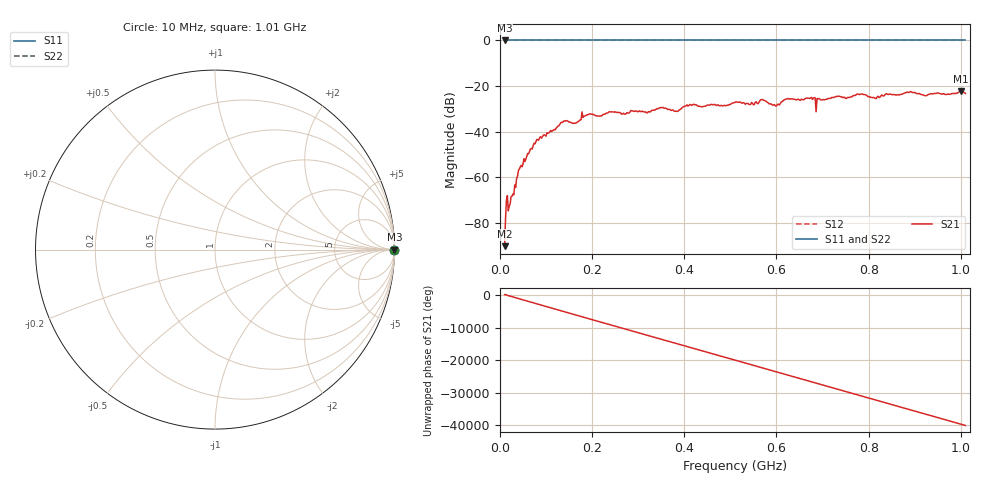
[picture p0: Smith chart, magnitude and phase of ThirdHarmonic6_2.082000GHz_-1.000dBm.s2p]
! 8/17/2025 12:55:51 AM
! C:\ANRITSUVNA\TEMP\TEMP.S2P
! CHANNEL.1
! TR.MEASUREMENT
! RAW.DATA
! RF.CORRECTION.OFF
! AVERAGING.OFF
! IF.BANDWIDTH: 5KHZ
! SWEEPTYPE:  FREQ.SWEEP(Linear)
! Reference Plane Port Info
! PORT:  PORT1  PORT2
! DISTANCE:  0  m  0  m
! TIME:  0  s  0  s
! PHASE.OFFSET:  0  deg.  0  deg.
! LOSS:  0  dB  0  dB
! REF.LOSS:  0  dB  0  dB
! REF.FREQ:  0  Hz  0  Hz
! Power Info
! POWER:  -20  dBm  -20  dBm
! EFF.POWER:  -20  dBm  -20  dBm
! SOURCE.ATTEN:  0  dB  0  dB
! TEST.ATTEN:  0  dB  0  dB
# GHZ S RI R 50.0
! FREQ.GHZ  S11RE  S11IM  S21RE  S21IM  S12RE  S12IM  S22RE  S22IM
!; PortSelection: Port_12
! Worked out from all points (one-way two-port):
!   501 points, 10 MHz to 1.01 GHz, reference 50 ohm
!   highest |S21| = -22.26 dB at 1 GHz (marker M1); lowest = -90.2 dB at 10 MHz (marker M2)
!   lowest |S11| = 0.0 dB at 10 MHz (marker M3)
!   |S11| at or under -10 dB: nowhere
!   |S22| runs from 0.0 to 0.0 dB; largest |S21 - S12| = 1.1
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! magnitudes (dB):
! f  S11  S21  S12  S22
! 10 MHz  0.0  -90.2  0.0  0.0
! 18 MHz  0.0  -74.7  0.0  0.0
! 22 MHz  0.0  -71.7  0.0  0.0
! 30 MHz  0.0  -67.7  0.0  0.0
! 42 MHz  0.0  -56.4  0.0  0.0
! 76 MHz  0.0  -45.3  0.0  0.0
! 136 MHz  0.0  -35.9  0.0  0.0
! 162 MHz  0.0  -36.3  0.0  0.0
! 178 MHz  0.0  -31.3  0.0  0.0
! 344 MHz  0.0  -29.9  0.0  0.0
! 382 MHz  0.0  -31.0  0.0  0.0
! 416 MHz  0.0  -28.5  0.0  0.0
! 510 MHz  0.0  -27.1  0.0  0.0
! 548 MHz  0.0  -27.6  0.0  0.0
! 570 MHz  0.0  -25.9  0.0  0.0
! 596 MHz  0.0  -28.2  0.0  0.0
! 622 MHz  0.0  -25.6  0.0  0.0
! 678 MHz  0.0  -25.9  0.0  0.0
! 690 MHz  0.0  -25.6  0.0  0.0
! 844 MHz  0.0  -23.6  0.0  0.0
! 1 GHz  0.0  -22.3  0.0  0.0
! 1.01 GHz  0.0  -23.2  0.0  0.0
